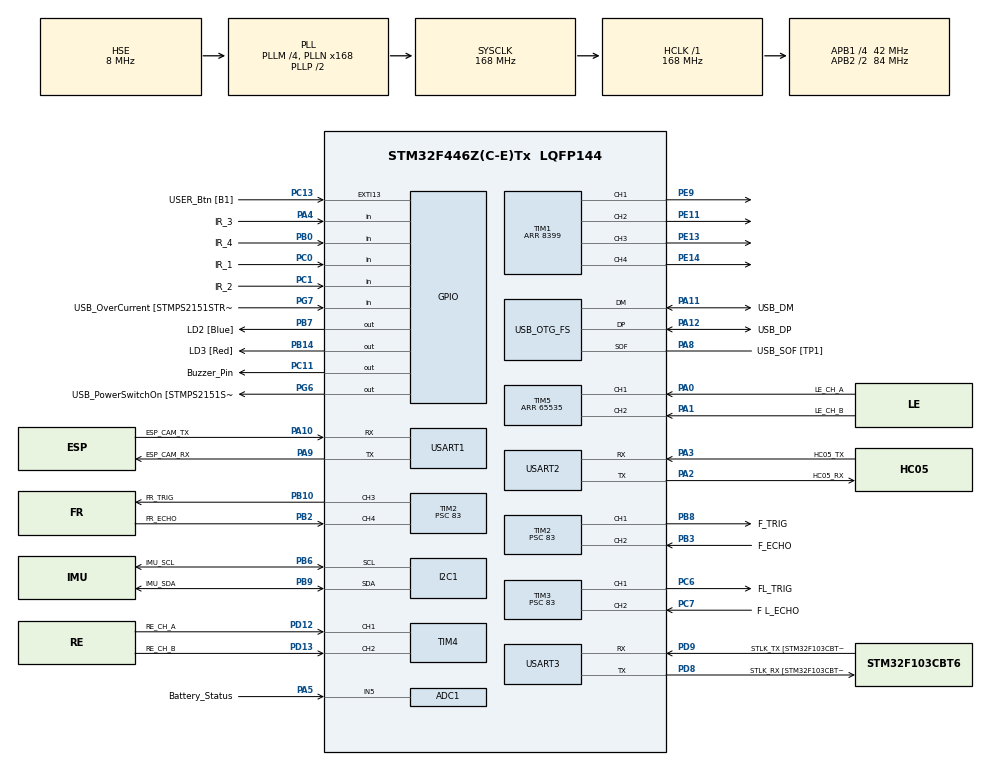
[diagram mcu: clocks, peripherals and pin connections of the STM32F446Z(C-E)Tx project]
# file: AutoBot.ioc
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ADC1.Channel-0\#ChannelRegularConversion=ADC_CHANNEL_5
ADC1.NbrOfConversionFlag=1
ADC1.Rank-0\#ChannelRegularConversion=1
ADC1.SamplingTime-0\#ChannelRegularConversion=ADC_SAMPLETIME_3CYCLES
ADC1.master=1
Dma.I2C1_RX.2.Direction=DMA_PERIPH_TO_MEMORY
Dma.I2C1_RX.2.FIFOMode=DMA_FIFOMODE_DISABLE
Dma.I2C1_RX.2.Instance=DMA1_Stream0
Dma.I2C1_RX.2.MemDataAlignment=DMA_MDATAALIGN_BYTE
Dma.I2C1_RX.2.MemInc=DMA_MINC_ENABLE
Dma.I2C1_RX.2.Mode=DMA_CIRCULAR
Dma.I2C1_RX.2.PeriphDataAlignment=DMA_PDATAALIGN_BYTE
Dma.I2C1_RX.2.PeriphInc=DMA_PINC_DISABLE
Dma.I2C1_RX.2.Priority=DMA_PRIORITY_HIGH
Dma.Request0=TIM2_CH2/CH4
Dma.Request1=TIM3_CH2
Dma.Request2=I2C1_RX
Dma.Request3=USART1_RX
Dma.TIM2_CH2/CH4.0.Direction=DMA_PERIPH_TO_MEMORY
Dma.TIM2_CH2/CH4.0.FIFOMode=DMA_FIFOMODE_DISABLE
Dma.TIM2_CH2/CH4.0.Instance=DMA1_Stream6
Dma.TIM2_CH2/CH4.0.MemDataAlignment=DMA_MDATAALIGN_HALFWORD
Dma.TIM2_CH2/CH4.0.MemInc=DMA_MINC_ENABLE
Dma.TIM2_CH2/CH4.0.Mode=DMA_CIRCULAR
Dma.TIM2_CH2/CH4.0.PeriphDataAlignment=DMA_PDATAALIGN_HALFWORD
Dma.TIM2_CH2/CH4.0.PeriphInc=DMA_PINC_DISABLE
Dma.TIM2_CH2/CH4.0.Priority=DMA_PRIORITY_HIGH
Dma.TIM3_CH2.1.Direction=DMA_PERIPH_TO_MEMORY
Dma.TIM3_CH2.1.FIFOMode=DMA_FIFOMODE_DISABLE
Dma.TIM3_CH2.1.Instance=DMA1_Stream5
Dma.TIM3_CH2.1.MemDataAlignment=DMA_MDATAALIGN_HALFWORD
Dma.TIM3_CH2.1.MemInc=DMA_MINC_ENABLE
Dma.TIM3_CH2.1.Mode=DMA_CIRCULAR
Dma.TIM3_CH2.1.PeriphDataAlignment=DMA_PDATAALIGN_HALFWORD
Dma.TIM3_CH2.1.PeriphInc=DMA_PINC_DISABLE
Dma.TIM3_CH2.1.Priority=DMA_PRIORITY_HIGH
Dma.USART1_RX.3.Direction=DMA_PERIPH_TO_MEMORY
Dma.USART1_RX.3.FIFOMode=DMA_FIFOMODE_DISABLE
Dma.USART1_RX.3.Instance=DMA2_Stream2
Dma.USART1_RX.3.MemDataAlignment=DMA_MDATAALIGN_BYTE
Dma.USART1_RX.3.MemInc=DMA_MINC_ENABLE
Dma.USART1_RX.3.Mode=DMA_CIRCULAR
Dma.USART1_RX.3.PeriphDataAlignment=DMA_PDATAALIGN_BYTE
Dma.USART1_RX.3.PeriphInc=DMA_PINC_DISABLE
Dma.USART1_RX.3.Priority=DMA_PRIORITY_MEDIUM
Mcu.Family=STM32F4
Mcu.Name=STM32F446Z(C-E)Tx
Mcu.Package=LQFP144
NVIC.ADC_IRQn=true\:0\:0\:false\:false\:true\:true\:true\:true
NVIC.DMA1_Stream0_IRQn=true\:0\:0\:false\:false\:true\:false\:true\:true
NVIC.DMA1_Stream5_IRQn=true\:0\:0\:false\:false\:true\:false\:true\:true
NVIC.DMA1_Stream6_IRQn=true\:0\:0\:false\:false\:true\:false\:true\:true
NVIC.DMA2_Stream2_IRQn=true\:0\:0\:false\:false\:true\:false\:true\:true
NVIC.I2C1_ER_IRQn=true\:0\:0\:false\:false\:true\:true\:true\:true
NVIC.I2C1_EV_IRQn=true\:0\:0\:false\:false\:true\:true\:true\:true
NVIC.PriorityGroup=NVIC_PRIORITYGROUP_4
NVIC.TIM1_UP_TIM10_IRQn=true\:0\:0\:false\:false\:true\:true\:true\:true
NVIC.TIM2_IRQn=true\:0\:0\:true\:false\:true\:true\:true\:true
NVIC.TIM3_IRQn=true\:0\:0\:false\:false\:true\:true\:true\:true
NVIC.TIM4_IRQn=true\:0\:0\:false\:false\:true\:true\:true\:true
NVIC.TIM5_IRQn=true\:0\:0\:false\:false\:true\:true\:true\:true
NVIC.TIM6_DAC_IRQn=true\:0\:0\:false\:false\:true\:true\:true\:true
NVIC.TIM7_IRQn=true\:0\:0\:false\:false\:true\:true\:true\:true
NVIC.USART1_IRQn=true\:0\:0\:false\:false\:true\:true\:true\:true
NVIC.USART2_IRQn=true\:0\:0\:false\:false\:true\:true\:true\:true
PA0-WKUP.GPIO_Label=LE_CH_A
PA0-WKUP.Signal=S_TIM5_CH1
PA1.GPIO_Label=LE_CH_B
PA1.Signal=S_TIM5_CH2
PA10.GPIO_Label=ESP_CAM_TX
PA10.Mode=Asynchronous
PA10.Signal=USART1_RX
PA11.GPIO_Label=USB_DM
PA11.Mode=Device_Only
PA11.Signal=USB_OTG_FS_DM
PA12.GPIO_Label=USB_DP
PA12.Mode=Device_Only
PA12.Signal=USB_OTG_FS_DP
PA13.GPIO_Label=TMS
PA13.Mode=Serial_Wire
PA13.Signal=SYS_JTMS-SWDIO
PA14.GPIO_Label=TCK
PA14.Mode=Serial_Wire
PA14.Signal=SYS_JTCK-SWCLK
PA2.GPIO_Label=HC05_RX
PA2.Mode=Asynchronous
PA2.Signal=USART2_TX
PA3.GPIO_Label=HC05_TX
PA3.Mode=Asynchronous
PA3.Signal=USART2_RX
PA4.GPIO_Label=IR_3
PA4.Signal=GPIO_Input
PA5.GPIO_Label=Battery_Status
PA5.Signal=ADCx_IN5
PA8.GPIO_Label=USB_SOF [TP1]
PA8.Mode=Activate_SOF_FS
PA8.Signal=USB_OTG_FS_SOF
PA9.GPIO_Label=ESP_CAM_RX
PA9.Mode=Asynchronous
PA9.Signal=USART1_TX
PB0.GPIO_Label=IR_4
PB0.Signal=GPIO_Input
PB10.GPIO_Label=FR_TRIG
PB10.Signal=S_TIM2_CH3
PB14.GPIO_Label=LD3 [Red]
PB14.Signal=GPIO_Output
PB2.GPIO_Label=FR_ECHO
PB2.Signal=S_TIM2_CH4
PB3.GPIO_Label=F_ECHO
PB3.Signal=S_TIM2_CH2
PB6.GPIO_Label=IMU_SCL
PB6.Mode=I2C
PB6.Signal=I2C1_SCL
PB7.GPIO_Label=LD2 [Blue]
PB7.Signal=GPIO_Output
PB8.GPIO_Label=F_TRIG
PB8.Signal=S_TIM2_CH1_ETR
PB9.GPIO_Label=IMU_SDA
PB9.Mode=I2C
PB9.Signal=I2C1_SDA
PC0.GPIO_Label=IR_1
PC0.Signal=GPIO_Input
PC1.GPIO_Label=IR_2
PC1.Signal=GPIO_Input
PC11.GPIO_Label=Buzzer_Pin
PC11.Signal=GPIO_Output
PC13.GPIO_Label=USER_Btn [B1]
PC13.Signal=GPXTI13
PC14-OSC32_IN.Mode=LSE-External-Oscillator
PC14-OSC32_IN.Signal=RCC_OSC32_IN
PC15-OSC32_OUT.Mode=LSE-External-Oscillator
PC15-OSC32_OUT.Signal=RCC_OSC32_OUT
PC6.GPIO_Label=FL_TRIG
PC6.Signal=S_TIM3_CH1
PC7.GPIO_Label=F L_ECHO
PC7.Signal=S_TIM3_CH2
PD12.GPIO_Label=RE_CH_A
PD12.Signal=S_TIM4_CH1
PD13.GPIO_Label=RE_CH_B
PD13.Signal=S_TIM4_CH2
PD8.GPIO_Label=STLK_RX [STM32F103CBT6_PA3]
PD8.Mode=Asynchronous
PD8.Signal=USART3_TX
PD9.GPIO_Label=STLK_TX [STM32F103CBT6_PA2]
PD9.Mode=Asynchronous
PD9.Signal=USART3_RX
PE11.Signal=S_TIM1_CH2
PE13.Signal=S_TIM1_CH3
PE14.Signal=S_TIM1_CH4
PE9.Signal=S_TIM1_CH1
PG6.GPIO_Label=USB_PowerSwitchOn [STMPS2151STR_EN]
PG6.Signal=GPIO_Output
PG7.GPIO_Label=USB_OverCurrent [STMPS2151STR_FAULT]
PG7.Signal=GPIO_Input
PH0-OSC_IN.GPIO_Label=MCO [STM32F103CBT6_PA8]
PH0-OSC_IN.Mode=HSE-External-Clock-Source
PH0-OSC_IN.Signal=RCC_OSC_IN
PH1-OSC_OUT.Mode=HSE-External-Clock-Source
PH1-OSC_OUT.Signal=RCC_OSC_OUT
ProjectManager.HeapSize=0x200
ProjectManager.StackSize=0x400
ProjectManager.TargetToolchain=STM32CubeIDE
RCC.48MHZClocksFreq_Value=24000000
RCC.AHBFreq_Value=168000000
RCC.APB1CLKDivider=RCC_HCLK_DIV4
RCC.APB1Freq_Value=42000000
RCC.APB1TimFreq_Value=84000000
RCC.APB2CLKDivider=RCC_HCLK_DIV2
RCC.APB2Freq_Value=84000000
RCC.APB2TimFreq_Value=168000000
RCC.CortexFreq_Value=168000000
RCC.HCLKFreq_Value=168000000
RCC.HSE_VALUE=8000000
RCC.HSI_VALUE=16000000
RCC.PLLM=4
RCC.PLLMUL=RCC_PLL_MUL9
RCC.PLLN=168
RCC.PLLQ=7
RCC.PRESCALERUSB=RCC_USBCLKSOURCE_PLL_DIV1_5
RCC.SYSCLKFreq_VALUE=168000000
RCC.SYSCLKSource=RCC_SYSCLKSOURCE_PLLCLK
RCC.SYSCLKSourceVirtual=RCC_SYSCLKSOURCE_PLLCLK
RCC.USBFreq_Value=48000000
RCC.VCOOutputFreq_Value=336000000
SH.ADCx_IN5.0=ADC1_IN5,IN5
SH.S_TIM1_CH1.0=TIM1_CH1,PWM Generation1 CH1
SH.S_TIM1_CH2.0=TIM1_CH2,PWM Generation2 CH2
SH.S_TIM1_CH3.0=TIM1_CH3,PWM Generation3 CH3
SH.S_TIM1_CH4.0=TIM1_CH4,PWM Generation4 CH4
SH.S_TIM2_CH1_ETR.0=TIM2_CH1,PWM Generation1 CH1
SH.S_TIM2_CH2.0=TIM2_CH2,Input_Capture2_from_TI2
SH.S_TIM2_CH3.0=TIM2_CH3,PWM Generation3 CH3
SH.S_TIM2_CH4.0=TIM2_CH4,Input_Capture4_from_TI4
SH.S_TIM3_CH1.0=TIM3_CH1,PWM Generation1 CH1
SH.S_TIM3_CH2.0=TIM3_CH2,Input_Capture2_from_TI2
SH.S_TIM4_CH1.0=TIM4_CH1,Encoder_Interface
SH.S_TIM4_CH2.0=TIM4_CH2,Encoder_Interface
SH.S_TIM5_CH1.0=TIM5_CH1,Encoder_Interface
SH.S_TIM5_CH2.0=TIM5_CH2,Encoder_Interface
TIM1.Channel-PWM\ Generation1\ CH1=TIM_CHANNEL_1
TIM1.Channel-PWM\ Generation2\ CH2=TIM_CHANNEL_2
TIM1.Channel-PWM\ Generation3\ CH3=TIM_CHANNEL_3
TIM1.Channel-PWM\ Generation4\ CH4=TIM_CHANNEL_4
TIM1.Period=8399
TIM10.AutoReloadPreload=TIM_AUTORELOAD_PRELOAD_ENABLE
TIM10.Period=499
TIM10.Prescaler=16799
TIM2.AutoReloadPreload=TIM_AUTORELOAD_PRELOAD_ENABLE
TIM2.Channel-Input_Capture2_from_TI2=TIM_CHANNEL_2
TIM2.Channel-Input_Capture4_from_TI4=TIM_CHANNEL_4
TIM2.Channel-PWM\ Generation1\ CH1=TIM_CHANNEL_1
TIM2.Channel-PWM\ Generation3\ CH3=TIM_CHANNEL_3
TIM2.Period=59999
TIM2.Prescaler=83
TIM2.Pulse-PWM\ Generation1\ CH1=10
TIM2.Pulse-PWM\ Generation3\ CH3=10
TIM3.AutoReloadPreload=TIM_AUTORELOAD_PRELOAD_ENABLE
TIM3.Channel-Input_Capture2_from_TI2=TIM_CHANNEL_2
TIM3.Channel-PWM\ Generation1\ CH1=TIM_CHANNEL_1
TIM3.Period=59999
TIM3.Prescaler=83
TIM3.Pulse-PWM\ Generation1\ CH1=10
TIM5.Period=65535
TIM6.AutoReloadPreload=TIM_AUTORELOAD_PRELOAD_ENABLE
TIM6.Period=99
TIM6.Prescaler=8399
TIM7.Period=9999
TIM7.Prescaler=8999
USART1.VirtualMode=VM_ASYNC
USART2.VirtualMode=VM_ASYNC
USART3.VirtualMode=VM_ASYNC
USB_OTG_FS.VirtualMode=Device_Only
VP_TIM10_VS_ClockSourceINT.Mode=Enable_Timer
VP_TIM1_VS_ClockSourceINT.Mode=Internal
VP_TIM2_VS_ClockSourceINT.Mode=Internal
VP_TIM3_VS_ClockSourceINT.Mode=Internal
VP_TIM6_VS_ClockSourceINT.Mode=Enable_Timer
VP_TIM7_VS_ClockSourceINT.Mode=Enable_Timer
board=NUCLEO-F446ZE

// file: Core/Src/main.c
/* USER CODE BEGIN Header */
/**
  ******************************************************************************
  * @file           : main.c
  * @brief          : Main program body
  ******************************************************************************
  * @attention
  *
  * Copyright (c) 2025 STMicroelectronics.
  * All rights reserved.
  *
  * This software is licensed under terms that can be found in the LICENSE file
  * in the root directory of this software component.
  * If no LICENSE file comes with this software, it is provided AS-IS.
  *
  ******************************************************************************
  */
/* USER CODE END Header */
#include "main.h"

/* USER CODE BEGIN Includes */
#include<stdio.h>
#include<string.h>
#include "ir_array.h"
#include "motor_control.h"
#include "ultrasonic.h"
#include "imu.h"
#include "encoder.h"
#include "battery_status.h"
#include "uart.h"

/* USER CODE END Includes */

/* USER CODE BEGIN PD */
#define Buzzer_Port	GPIOC
#define BUZZER_PIN	GPIO_PIN_11
/* USER CODE END PD */

ADC_HandleTypeDef hadc1;

I2C_HandleTypeDef hi2c1;
DMA_HandleTypeDef hdma_i2c1_rx;

TIM_HandleTypeDef htim1;
TIM_HandleTypeDef htim2;
TIM_HandleTypeDef htim3;
TIM_HandleTypeDef htim4;
TIM_HandleTypeDef htim5;
TIM_HandleTypeDef htim6;
TIM_HandleTypeDef htim7;
TIM_HandleTypeDef htim10;
DMA_HandleTypeDef hdma_tim2_ch2_ch4;
DMA_HandleTypeDef hdma_tim3_ch2;

UART_HandleTypeDef huart1;
UART_HandleTypeDef huart2;
UART_HandleTypeDef huart3;
DMA_HandleTypeDef hdma_usart1_rx;

PCD_HandleTypeDef hpcd_USB_OTG_FS;

/* USER CODE BEGIN PV */
char tx_buffer[512];
volatile uint8_t send_flag=0;
/* USER CODE END PV */

void SystemClock_Config(void);
static void MX_GPIO_Init(void);
static void MX_DMA_Init(void);
static void MX_USART3_UART_Init(void);
static void MX_USB_OTG_FS_PCD_Init(void);
static void MX_TIM1_Init(void);
static void MX_TIM2_Init(void);
static void MX_TIM3_Init(void);
static void MX_I2C1_Init(void);
static void MX_TIM6_Init(void);
static void MX_TIM4_Init(void);
static void MX_TIM5_Init(void);
static void MX_ADC1_Init(void);
static void MX_TIM7_Init(void);
static void MX_TIM10_Init(void);
static void MX_USART2_UART_Init(void);
static void MX_USART1_UART_Init(void);

int main(void)
{

  /* MCU Configuration--------------------------------------------------------*/

  /* Reset of all peripherals, Initializes the Flash interface and the Systick. */
  HAL_Init();

  /* Configure the system clock */
  SystemClock_Config();

  /* Initialize all configured peripherals */
  MX_GPIO_Init();
  MX_DMA_Init();
  MX_USART3_UART_Init();
  MX_USB_OTG_FS_PCD_Init();
  MX_TIM1_Init();
  MX_TIM2_Init();
  MX_TIM3_Init();
  MX_I2C1_Init();
  MX_TIM6_Init();
  MX_TIM4_Init();
  MX_TIM5_Init();
  MX_ADC1_Init();
  MX_TIM7_Init();
  MX_TIM10_Init();
  MX_USART2_UART_Init();
  MX_USART1_UART_Init();
  /* USER CODE BEGIN 2 */
  mpu9250_init();
  HAL_TIM_Base_Start_IT(&htim6);
  Motor_Init();
  Ultrasonic_Init();
  encoder_init();
  BatteryMonitor_Init();
  HAL_TIM_Base_Start_IT(&htim10);
  UART1_Init();  // start UART1 DMA reception
  HAL_Delay(500);
  IR_Array_T irdata;

  /* USER CODE END 2 */

  /* Infinite loop */
  /* USER CODE BEGIN WHILE */
  while (1)
  {
	 Ultrasonic_Process();
	  if(!object1_near_flag && !object2_near_flag && !object3_near_flag)
	  {
	      // normal IR-based line following
		  HAL_GPIO_WritePin(Buzzer_Port, BUZZER_PIN, RESET);
		  IR_Array_Read(&irdata);
		  IR_Decision(&irdata);

	      read_load_encoder();`

	  /*
	   * printf("\nLeft: %ld Right: %ld | %.2f° %.2f°\r\n", (long)left_count, (long)right_count, left_deg, right_deg);
		  printf("\nAccel -> X: %.2f g,Y: %.2f g,Z: %.2f g\r\n", imu.ax, imu.ay, imu.az);
		  printf("Gyro -> X: %.2f °/s,Y: %.2f °/s,Z: %.2f °/s\r\n", imu.gx, imu.gy, imu.gz);
		  printf("Orientation->Pitch: %.2f°,Roll: %.2f°,Yaw: %.2f°\r\n", imu.pitch, imu.roll, imu.yaw);
		  printf("\nBattery = %.2fV\r\n", battery_voltage);
		  printf("Battery_Percentage = %d\r\n", battery_percentage);
		  HAL_Delay(500);
	  */
	  }
	  else
	  {
		  Motor_Stop();
	      read_load_encoder();

		  HAL_GPIO_WritePin(Buzzer_Port, BUZZER_PIN,SET);
		  printf("Obstacle!!\n\r");
	  }
	  UART1_ProcessReceivedData();
	  if (new_esp32_data_flag)
	  {
	      new_esp32_data_flag = 0; // reset flag
	      /*
	       * printf("\r\nTag: %d | Yaw: %.2f | Pitch: %.2f | Roll: %.2f | X: %.2f | Y: %.2f | Z: %.2f\r\n",
	             esp32_tag_id, esp32_yaw, esp32_pitch, esp32_roll,
             	 esp32_x, esp32_y, esp32_z);
		  */
	  }
	  if (send_flag && huart2.gState == HAL_UART_STATE_READY)
	  {
	      send_flag = 0;
//	      	    int len = snprintf(tx_buffer, sizeof(tx_buffer),
//	      	        "L:%ld R:%ld | %.2f %.2f | "
//	      	        "Acc: %.2f %.2f %.2f | Gyro: %.2f %.2f %.2f | "
//	      	        "Pitch: %.2f Roll: %.2f Yaw: %.2f | "
//	      	        "Batt: %.2fV %d%% | "
//	      	        "ESP: Tag:%d | Yaw:%.2f Pitch:%.2f Roll:%.2f | X:%.2f Y:%.2f Z:%.2f\r\n",
//	      	        (long)left_count, (long)right_count, left_deg, right_deg,
//	      	        imu.ax, imu.ay, imu.az,
//	      	        imu.gx, imu.gy, imu.gz,
//	      	        imu.pitch, imu.roll, imu.yaw,
//	      	        battery_voltage, battery_percentage,
//	      	        esp32_tag_id, esp32_yaw, esp32_pitch, esp32_roll,
//	      	        esp32_x, esp32_y, esp32_z);

	      int len = snprintf(tx_buffer, sizeof(tx_buffer),
	          "{"
	              "\"enc\":{"
	                  "\"L\":%ld,"
	                  "\"R\":%ld,"
	                  "\"left_deg\":%.2f,"
	                  "\"right_deg\":%.2f"
	              "},"
	              "\"imu\":{"
	                  "\"acc\":[%.2f,%.2f,%.2f],"
	                  "\"gyro\":[%.2f,%.2f,%.2f],"
	                  "\"euler\":[%.2f,%.2f,%.2f]"
	              "},"
	              "\"battery\":{"
	                  "\"voltage\":%.2f,"
	                  "\"percent\":%d"
	              "},"
	              "\"esp\":{"
	                  "\"tag\":%d,"
	                  "\"yaw\":%.2f,"
	                  "\"pitch\":%.2f,"
	                  "\"roll\":%.2f,"
	                  "\"pos\":[%.2f,%.2f,%.2f]"
	              "}"
	          "}\n",
	          (long)left_count,
	          (long)right_count,
	          left_deg,
	          right_deg,
	          imu.ax, imu.ay, imu.az,
	          imu.gx, imu.gy, imu.gz,
	          imu.pitch, imu.roll, imu.yaw,
	          battery_voltage,
	          battery_percentage,
	          esp32_tag_id,
	          esp32_yaw, esp32_pitch, esp32_roll,
	          esp32_x, esp32_y, esp32_z
	      );
	      HAL_UART_Transmit_IT(&huart2, (uint8_t *)tx_buffer, len);
	  }
	/*
	 * uint8_t pattern = IR_Array_GetPattern(&irdata);
	    for (int i = 3; i >= 0; i--)  // for 8-bit number
	    {
	        putchar((pattern & (1 << i)) ? '1' : '0');
	    }
	    printf("\r\n");
	*/
    /* USER CODE END WHILE */

  }
}

void SystemClock_Config(void)
{
  RCC_OscInitTypeDef RCC_OscInitStruct = {0};
  RCC_ClkInitTypeDef RCC_ClkInitStruct = {0};

  /** Configure the main internal regulator output voltage
  */
  __HAL_RCC_PWR_CLK_ENABLE();
  __HAL_PWR_VOLTAGESCALING_CONFIG(PWR_REGULATOR_VOLTAGE_SCALE1);

  /** Initializes the RCC Oscillators according to the specified parameters
  * in the RCC_OscInitTypeDef structure.
  */
  RCC_OscInitStruct.OscillatorType = RCC_OSCILLATORTYPE_HSE;
  RCC_OscInitStruct.HSEState = RCC_HSE_BYPASS;
  RCC_OscInitStruct.PLL.PLLState = RCC_PLL_ON;
  RCC_OscInitStruct.PLL.PLLSource = RCC_PLLSOURCE_HSE;
  RCC_OscInitStruct.PLL.PLLM = 4;
  RCC_OscInitStruct.PLL.PLLN = 168;
  RCC_OscInitStruct.PLL.PLLP = RCC_PLLP_DIV2;
  RCC_OscInitStruct.PLL.PLLQ = 7;
  RCC_OscInitStruct.PLL.PLLR = 2;
  if (HAL_RCC_OscConfig(&RCC_OscInitStruct) != HAL_OK)
  {
    Error_Handler();
  }

  /** Initializes the CPU, AHB and APB buses clocks
  */
  RCC_ClkInitStruct.ClockType = RCC_CLOCKTYPE_HCLK|RCC_CLOCKTYPE_SYSCLK
                              |RCC_CLOCKTYPE_PCLK1|RCC_CLOCKTYPE_PCLK2;
  RCC_ClkInitStruct.SYSCLKSource = RCC_SYSCLKSOURCE_PLLCLK;
  RCC_ClkInitStruct.AHBCLKDivider = RCC_SYSCLK_DIV1;
  RCC_ClkInitStruct.APB1CLKDivider = RCC_HCLK_DIV4;
  RCC_ClkInitStruct.APB2CLKDivider = RCC_HCLK_DIV2;

  if (HAL_RCC_ClockConfig(&RCC_ClkInitStruct, FLASH_LATENCY_5) != HAL_OK)
  {
    Error_Handler();
  }
}

static void MX_ADC1_Init(void)
{

  ADC_ChannelConfTypeDef sConfig = {0};

  /** Configure the global features of the ADC (Clock, Resolution, Data Alignment and number of conversion)
  */
  hadc1.Instance = ADC1;
  hadc1.Init.ClockPrescaler = ADC_CLOCK_SYNC_PCLK_DIV4;
  hadc1.Init.Resolution = ADC_RESOLUTION_12B;
  hadc1.Init.ScanConvMode = DISABLE;
  hadc1.Init.ContinuousConvMode = DISABLE;
  hadc1.Init.DiscontinuousConvMode = DISABLE;
  hadc1.Init.ExternalTrigConvEdge = ADC_EXTERNALTRIGCONVEDGE_NONE;
  hadc1.Init.ExternalTrigConv = ADC_SOFTWARE_START;
  hadc1.Init.DataAlign = ADC_DATAALIGN_RIGHT;
  hadc1.Init.NbrOfConversion = 1;
  hadc1.Init.DMAContinuousRequests = DISABLE;
  hadc1.Init.EOCSelection = ADC_EOC_SINGLE_CONV;
  if (HAL_ADC_Init(&hadc1) != HAL_OK)
  {
    Error_Handler();
  }

  /** Configure for the selected ADC regular channel its corresponding rank in the sequencer and its sample time.
  */
  sConfig.Channel = ADC_CHANNEL_5;
  sConfig.Rank = 1;
  sConfig.SamplingTime = ADC_SAMPLETIME_3CYCLES;
  if (HAL_ADC_ConfigChannel(&hadc1, &sConfig) != HAL_OK)
  {
    Error_Handler();
  }

}

static void MX_I2C1_Init(void)
{

  hi2c1.Instance = I2C1;
  hi2c1.Init.ClockSpeed = 100000;
  hi2c1.Init.DutyCycle = I2C_DUTYCYCLE_2;
  hi2c1.Init.OwnAddress1 = 0;
  hi2c1.Init.AddressingMode = I2C_ADDRESSINGMODE_7BIT;
  hi2c1.Init.DualAddressMode = I2C_DUALADDRESS_DISABLE;
  hi2c1.Init.OwnAddress2 = 0;
  hi2c1.Init.GeneralCallMode = I2C_GENERALCALL_DISABLE;
  hi2c1.Init.NoStretchMode = I2C_NOSTRETCH_DISABLE;
  if (HAL_I2C_Init(&hi2c1) != HAL_OK)
  {
    Error_Handler();
  }

}

static void MX_TIM1_Init(void)
{

  TIM_ClockConfigTypeDef sClockSourceConfig = {0};
  TIM_MasterConfigTypeDef sMasterConfig = {0};
  TIM_OC_InitTypeDef sConfigOC = {0};
  TIM_BreakDeadTimeConfigTypeDef sBreakDeadTimeConfig = {0};

  htim1.Instance = TIM1;
  htim1.Init.Prescaler = 0;
  htim1.Init.CounterMode = TIM_COUNTERMODE_UP;
  htim1.Init.Period = 8399;
  htim1.Init.ClockDivision = TIM_CLOCKDIVISION_DIV1;
  htim1.Init.RepetitionCounter = 0;
  htim1.Init.AutoReloadPreload = TIM_AUTORELOAD_PRELOAD_DISABLE;
  if (HAL_TIM_Base_Init(&htim1) != HAL_OK)
  {
    Error_Handler();
  }
  sClockSourceConfig.ClockSource = TIM_CLOCKSOURCE_INTERNAL;
  if (HAL_TIM_ConfigClockSource(&htim1, &sClockSourceConfig) != HAL_OK)
  {
    Error_Handler();
  }
  if (HAL_TIM_PWM_Init(&htim1) != HAL_OK)
  {
    Error_Handler();
  }
  sMasterConfig.MasterOutputTrigger = TIM_TRGO_RESET;
  sMasterConfig.MasterSlaveMode = TIM_MASTERSLAVEMODE_DISABLE;
  if (HAL_TIMEx_MasterConfigSynchronization(&htim1, &sMasterConfig) != HAL_OK)
  {
    Error_Handler();
  }
  sConfigOC.OCMode = TIM_OCMODE_PWM1;
  sConfigOC.Pulse = 0;
  sConfigOC.OCPolarity = TIM_OCPOLARITY_HIGH;
  sConfigOC.OCNPolarity = TIM_OCNPOLARITY_HIGH;
  sConfigOC.OCFastMode = TIM_OCFAST_DISABLE;
  sConfigOC.OCIdleState = TIM_OCIDLESTATE_RESET;
  sConfigOC.OCNIdleState = TIM_OCNIDLESTATE_RESET;
  if (HAL_TIM_PWM_ConfigChannel(&htim1, &sConfigOC, TIM_CHANNEL_1) != HAL_OK)
  {
    Error_Handler();
  }
  if (HAL_TIM_PWM_ConfigChannel(&htim1, &sConfigOC, TIM_CHANNEL_2) != HAL_OK)
  {
    Error_Handler();
  }
  if (HAL_TIM_PWM_ConfigChannel(&htim1, &sConfigOC, TIM_CHANNEL_3) != HAL_OK)
  {
    Error_Handler();
  }
  if (HAL_TIM_PWM_ConfigChannel(&htim1, &sConfigOC, TIM_CHANNEL_4) != HAL_OK)
  {
    Error_Handler();
  }
  sBreakDeadTimeConfig.OffStateRunMode = TIM_OSSR_DISABLE;
  sBreakDeadTimeConfig.OffStateIDLEMode = TIM_OSSI_DISABLE;
  sBreakDeadTimeConfig.LockLevel = TIM_LOCKLEVEL_OFF;
  sBreakDeadTimeConfig.DeadTime = 0;
  sBreakDeadTimeConfig.BreakState = TIM_BREAK_DISABLE;
  sBreakDeadTimeConfig.BreakPolarity = TIM_BREAKPOLARITY_HIGH;
  sBreakDeadTimeConfig.AutomaticOutput = TIM_AUTOMATICOUTPUT_DISABLE;
  if (HAL_TIMEx_ConfigBreakDeadTime(&htim1, &sBreakDeadTimeConfig) != HAL_OK)
  {
    Error_Handler();
  }
  HAL_TIM_MspPostInit(&htim1);

}

static void MX_TIM2_Init(void)
{

  TIM_ClockConfigTypeDef sClockSourceConfig = {0};
  TIM_MasterConfigTypeDef sMasterConfig = {0};
  TIM_OC_InitTypeDef sConfigOC = {0};
  TIM_IC_InitTypeDef sConfigIC = {0};

  htim2.Instance = TIM2;
  htim2.Init.Prescaler = 83;
  htim2.Init.CounterMode = TIM_COUNTERMODE_UP;
  htim2.Init.Period = 59999;
  htim2.Init.ClockDivision = TIM_CLOCKDIVISION_DIV1;
  htim2.Init.AutoReloadPreload = TIM_AUTORELOAD_PRELOAD_ENABLE;
  if (HAL_TIM_Base_Init(&htim2) != HAL_OK)
  {
    Error_Handler();
  }
  sClockSourceConfig.ClockSource = TIM_CLOCKSOURCE_INTERNAL;
  if (HAL_TIM_ConfigClockSource(&htim2, &sClockSourceConfig) != HAL_OK)
  {
    Error_Handler();
  }
  if (HAL_TIM_PWM_Init(&htim2) != HAL_OK)
  {
    Error_Handler();
  }
  if (HAL_TIM_IC_Init(&htim2) != HAL_OK)
  {
    Error_Handler();
  }
  sMasterConfig.MasterOutputTrigger = TIM_TRGO_RESET;
  sMasterConfig.MasterSlaveMode = TIM_MASTERSLAVEMODE_DISABLE;
  if (HAL_TIMEx_MasterConfigSynchronization(&htim2, &sMasterConfig) != HAL_OK)
  {
    Error_Handler();
  }
  sConfigOC.OCMode = TIM_OCMODE_PWM1;
  sConfigOC.Pulse = 10;
  sConfigOC.OCPolarity = TIM_OCPOLARITY_HIGH;
  sConfigOC.OCFastMode = TIM_OCFAST_DISABLE;
  if (HAL_TIM_PWM_ConfigChannel(&htim2, &sConfigOC, TIM_CHANNEL_1) != HAL_OK)
  {
    Error_Handler();
  }
  sConfigIC.ICPolarity = TIM_INPUTCHANNELPOLARITY_RISING;
  sConfigIC.ICSelection = TIM_ICSELECTION_DIRECTTI;
  sConfigIC.ICPrescaler = TIM_ICPSC_DIV1;
  sConfigIC.ICFilter = 0;
  if (HAL_TIM_IC_ConfigChannel(&htim2, &sConfigIC, TIM_CHANNEL_2) != HAL_OK)
  {
    Error_Handler();
  }
  if (HAL_TIM_PWM_ConfigChannel(&htim2, &sConfigOC, TIM_CHANNEL_3) != HAL_OK)
  {
    Error_Handler();
  }
  if (HAL_TIM_IC_ConfigChannel(&htim2, &sConfigIC, TIM_CHANNEL_4) != HAL_OK)
  {
    Error_Handler();
  }
  HAL_TIM_MspPostInit(&htim2);

}

static void MX_TIM3_Init(void)
{

  TIM_ClockConfigTypeDef sClockSourceConfig = {0};
  TIM_MasterConfigTypeDef sMasterConfig = {0};
  TIM_OC_InitTypeDef sConfigOC = {0};
  TIM_IC_InitTypeDef sConfigIC = {0};

  htim3.Instance = TIM3;
  htim3.Init.Prescaler = 83;
  htim3.Init.CounterMode = TIM_COUNTERMODE_UP;
  htim3.Init.Period = 59999;
  htim3.Init.ClockDivision = TIM_CLOCKDIVISION_DIV1;
  htim3.Init.AutoReloadPreload = TIM_AUTORELOAD_PRELOAD_ENABLE;
  if (HAL_TIM_Base_Init(&htim3) != HAL_OK)
  {
    Error_Handler();
  }
  sClockSourceConfig.ClockSource = TIM_CLOCKSOURCE_INTERNAL;
  if (HAL_TIM_ConfigClockSource(&htim3, &sClockSourceConfig) != HAL_OK)
  {
    Error_Handler();
  }
  if (HAL_TIM_PWM_Init(&htim3) != HAL_OK)
  {
    Error_Handler();
  }
  if (HAL_TIM_IC_Init(&htim3) != HAL_OK)
  {
    Error_Handler();
  }
  sMasterConfig.MasterOutputTrigger = TIM_TRGO_RESET;
  sMasterConfig.MasterSlaveMode = TIM_MASTERSLAVEMODE_DISABLE;
  if (HAL_TIMEx_MasterConfigSynchronization(&htim3, &sMasterConfig) != HAL_OK)
  {
    Error_Handler();
  }
  sConfigOC.OCMode = TIM_OCMODE_PWM1;
  sConfigOC.Pulse = 10;
  sConfigOC.OCPolarity = TIM_OCPOLARITY_HIGH;
  sConfigOC.OCFastMode = TIM_OCFAST_DISABLE;
  if (HAL_TIM_PWM_ConfigChannel(&htim3, &sConfigOC, TIM_CHANNEL_1) != HAL_OK)
  {
    Error_Handler();
  }
  sConfigIC.ICPolarity = TIM_INPUTCHANNELPOLARITY_RISING;
  sConfigIC.ICSelection = TIM_ICSELECTION_DIRECTTI;
  sConfigIC.ICPrescaler = TIM_ICPSC_DIV1;
  sConfigIC.ICFilter = 0;
  if (HAL_TIM_IC_ConfigChannel(&htim3, &sConfigIC, TIM_CHANNEL_2) != HAL_OK)
  {
    Error_Handler();
  }
  HAL_TIM_MspPostInit(&htim3);

}

static void MX_TIM4_Init(void)
{

  TIM_Encoder_InitTypeDef sConfig = {0};
  TIM_MasterConfigTypeDef sMasterConfig = {0};

  htim4.Instance = TIM4;
  htim4.Init.Prescaler = 0;
  htim4.Init.CounterMode = TIM_COUNTERMODE_UP;
  htim4.Init.Period = 65535;
  htim4.Init.ClockDivision = TIM_CLOCKDIVISION_DIV1;
  htim4.Init.AutoReloadPreload = TIM_AUTORELOAD_PRELOAD_DISABLE;
  sConfig.EncoderMode = TIM_ENCODERMODE_TI1;
  sConfig.IC1Polarity = TIM_ICPOLARITY_RISING;
  sConfig.IC1Selection = TIM_ICSELECTION_DIRECTTI;
  sConfig.IC1Prescaler = TIM_ICPSC_DIV1;
  sConfig.IC1Filter = 0;
  sConfig.IC2Polarity = TIM_ICPOLARITY_RISING;
  sConfig.IC2Selection = TIM_ICSELECTION_DIRECTTI;
  sConfig.IC2Prescaler = TIM_ICPSC_DIV1;
  sConfig.IC2Filter = 0;
  if (HAL_TIM_Encoder_Init(&htim4, &sConfig) != HAL_OK)
  {
    Error_Handler();
  }
  sMasterConfig.MasterOutputTrigger = TIM_TRGO_RESET;
  sMasterConfig.MasterSlaveMode = TIM_MASTERSLAVEMODE_DISABLE;
  if (HAL_TIMEx_MasterConfigSynchronization(&htim4, &sMasterConfig) != HAL_OK)
  {
    Error_Handler();
  }

}

static void MX_TIM5_Init(void)
{

  TIM_Encoder_InitTypeDef sConfig = {0};
  TIM_MasterConfigTypeDef sMasterConfig = {0};

  htim5.Instance = TIM5;
  htim5.Init.Prescaler = 0;
  htim5.Init.CounterMode = TIM_COUNTERMODE_UP;
  htim5.Init.Period = 65535;
  htim5.Init.ClockDivision = TIM_CLOCKDIVISION_DIV1;
  htim5.Init.AutoReloadPreload = TIM_AUTORELOAD_PRELOAD_DISABLE;
  sConfig.EncoderMode = TIM_ENCODERMODE_TI1;
  sConfig.IC1Polarity = TIM_ICPOLARITY_RISING;
  sConfig.IC1Selection = TIM_ICSELECTION_DIRECTTI;
  sConfig.IC1Prescaler = TIM_ICPSC_DIV1;
  sConfig.IC1Filter = 0;
  sConfig.IC2Polarity = TIM_ICPOLARITY_RISING;
  sConfig.IC2Selection = TIM_ICSELECTION_DIRECTTI;
  sConfig.IC2Prescaler = TIM_ICPSC_DIV1;
  sConfig.IC2Filter = 0;
  if (HAL_TIM_Encoder_Init(&htim5, &sConfig) != HAL_OK)
  {
    Error_Handler();
  }
  sMasterConfig.MasterOutputTrigger = TIM_TRGO_RESET;
  sMasterConfig.MasterSlaveMode = TIM_MASTERSLAVEMODE_DISABLE;
  if (HAL_TIMEx_MasterConfigSynchronization(&htim5, &sMasterConfig) != HAL_OK)
  {
    Error_Handler();
  }

}

static void MX_TIM6_Init(void)
{

  TIM_MasterConfigTypeDef sMasterConfig = {0};

  htim6.Instance = TIM6;
  htim6.Init.Prescaler = 8399;
  htim6.Init.CounterMode = TIM_COUNTERMODE_UP;
  htim6.Init.Period = 99;
  htim6.Init.AutoReloadPreload = TIM_AUTORELOAD_PRELOAD_ENABLE;
  if (HAL_TIM_Base_Init(&htim6) != HAL_OK)
  {
    Error_Handler();
  }
  sMasterConfig.MasterOutputTrigger = TIM_TRGO_RESET;
  sMasterConfig.MasterSlaveMode = TIM_MASTERSLAVEMODE_DISABLE;
  if (HAL_TIMEx_MasterConfigSynchronization(&htim6, &sMasterConfig) != HAL_OK)
  {
    Error_Handler();
  }

}

static void MX_TIM7_Init(void)
{

  TIM_MasterConfigTypeDef sMasterConfig = {0};

  htim7.Instance = TIM7;
  htim7.Init.Prescaler = 8999;
  htim7.Init.CounterMode = TIM_COUNTERMODE_UP;
  htim7.Init.Period = 9999;
  htim7.Init.AutoReloadPreload = TIM_AUTORELOAD_PRELOAD_DISABLE;
  if (HAL_TIM_Base_Init(&htim7) != HAL_OK)
  {
    Error_Handler();
  }
  sMasterConfig.MasterOutputTrigger = TIM_TRGO_RESET;
  sMasterConfig.MasterSlaveMode = TIM_MASTERSLAVEMODE_DISABLE;
  if (HAL_TIMEx_MasterConfigSynchronization(&htim7, &sMasterConfig) != HAL_OK)
  {
    Error_Handler();
  }

}

static void MX_TIM10_Init(void)
{

  htim10.Instance = TIM10;
  htim10.Init.Prescaler = 16799;
  htim10.Init.CounterMode = TIM_COUNTERMODE_UP;
  htim10.Init.Period = 2999;
  htim10.Init.ClockDivision = TIM_CLOCKDIVISION_DIV1;
  htim10.Init.AutoReloadPreload = TIM_AUTORELOAD_PRELOAD_ENABLE;
  if (HAL_TIM_Base_Init(&htim10) != HAL_OK)
  {
    Error_Handler();
  }

}

static void MX_USART1_UART_Init(void)
{

  huart1.Instance = USART1;
  huart1.Init.BaudRate = 115200;
  huart1.Init.WordLength = UART_WORDLENGTH_8B;
  huart1.Init.StopBits = UART_STOPBITS_1;
  huart1.Init.Parity = UART_PARITY_NONE;
  huart1.Init.Mode = UART_MODE_TX_RX;
  huart1.Init.HwFlowCtl = UART_HWCONTROL_NONE;
  huart1.Init.OverSampling = UART_OVERSAMPLING_16;
  if (HAL_UART_Init(&huart1) != HAL_OK)
  {
    Error_Handler();
  }

}

static void MX_USART2_UART_Init(void)
{

  huart2.Instance = USART2;
  huart2.Init.BaudRate = 115200;
  huart2.Init.WordLength = UART_WORDLENGTH_8B;
  huart2.Init.StopBits = UART_STOPBITS_1;
  huart2.Init.Parity = UART_PARITY_NONE;
  huart2.Init.Mode = UART_MODE_TX_RX;
  huart2.Init.HwFlowCtl = UART_HWCONTROL_NONE;
  huart2.Init.OverSampling = UART_OVERSAMPLING_16;
  if (HAL_UART_Init(&huart2) != HAL_OK)
  {
    Error_Handler();
  }

}

static void MX_USART3_UART_Init(void)
{

  huart3.Instance = USART3;
  huart3.Init.BaudRate = 115200;
  huart3.Init.WordLength = UART_WORDLENGTH_8B;
  huart3.Init.StopBits = UART_STOPBITS_1;
  huart3.Init.Parity = UART_PARITY_NONE;
  huart3.Init.Mode = UART_MODE_TX_RX;
  huart3.Init.HwFlowCtl = UART_HWCONTROL_NONE;
  huart3.Init.OverSampling = UART_OVERSAMPLING_16;
  if (HAL_UART_Init(&huart3) != HAL_OK)
  {
    Error_Handler();
  }

}

static void MX_USB_OTG_FS_PCD_Init(void)
{

  hpcd_USB_OTG_FS.Instance = USB_OTG_FS;
  hpcd_USB_OTG_FS.Init.dev_endpoints = 6;
  hpcd_USB_OTG_FS.Init.speed = PCD_SPEED_FULL;
  hpcd_USB_OTG_FS.Init.dma_enable = DISABLE;
  hpcd_USB_OTG_FS.Init.phy_itface = PCD_PHY_EMBEDDED;
  hpcd_USB_OTG_FS.Init.Sof_enable = ENABLE;
  hpcd_USB_OTG_FS.Init.low_power_enable = DISABLE;
  hpcd_USB_OTG_FS.Init.lpm_enable = DISABLE;
  hpcd_USB_OTG_FS.Init.vbus_sensing_enable = DISABLE;
  hpcd_USB_OTG_FS.Init.use_dedicated_ep1 = DISABLE;
  if (HAL_PCD_Init(&hpcd_USB_OTG_FS) != HAL_OK)
  {
    Error_Handler();
  }

}

static void MX_DMA_Init(void)
{

  /* DMA controller clock enable */
  __HAL_RCC_DMA1_CLK_ENABLE();
  __HAL_RCC_DMA2_CLK_ENABLE();

  /* DMA interrupt init */
  /* DMA1_Stream0_IRQn interrupt configuration */
  HAL_NVIC_SetPriority(DMA1_Stream0_IRQn, 0, 0);
  HAL_NVIC_EnableIRQ(DMA1_Stream0_IRQn);
  /* DMA1_Stream5_IRQn interrupt configuration */
  HAL_NVIC_SetPriority(DMA1_Stream5_IRQn, 0, 0);
  HAL_NVIC_EnableIRQ(DMA1_Stream5_IRQn);
  /* DMA1_Stream6_IRQn interrupt configuration */
  HAL_NVIC_SetPriority(DMA1_Stream6_IRQn, 0, 0);
  HAL_NVIC_EnableIRQ(DMA1_Stream6_IRQn);
  /* DMA2_Stream2_IRQn interrupt configuration */
  HAL_NVIC_SetPriority(DMA2_Stream2_IRQn, 0, 0);
  HAL_NVIC_EnableIRQ(DMA2_Stream2_IRQn);

}

static void MX_GPIO_Init(void)
{
  GPIO_InitTypeDef GPIO_InitStruct = {0};

  /* GPIO Ports Clock Enable */
  __HAL_RCC_GPIOC_CLK_ENABLE();
  __HAL_RCC_GPIOH_CLK_ENABLE();
  __HAL_RCC_GPIOA_CLK_ENABLE();
  __HAL_RCC_GPIOB_CLK_ENABLE();
  __HAL_RCC_GPIOE_CLK_ENABLE();
  __HAL_RCC_GPIOD_CLK_ENABLE();
  __HAL_RCC_GPIOG_CLK_ENABLE();

  /*Configure GPIO pin Output Level */
  HAL_GPIO_WritePin(GPIOB, LD3_Pin|LD2_Pin, GPIO_PIN_RESET);

  /*Configure GPIO pin Output Level */
  HAL_GPIO_WritePin(USB_PowerSwitchOn_GPIO_Port, USB_PowerSwitchOn_Pin, GPIO_PIN_RESET);

  /*Configure GPIO pin Output Level */
  HAL_GPIO_WritePin(Buzzer_Pin_GPIO_Port, Buzzer_Pin_Pin, GPIO_PIN_RESET);

  /*Configure GPIO pin : USER_Btn_Pin */
  GPIO_InitStruct.Pin = USER_Btn_Pin;
  GPIO_InitStruct.Mode = GPIO_MODE_IT_RISING;
  GPIO_InitStruct.Pull = GPIO_NOPULL;
  HAL_GPIO_Init(USER_Btn_GPIO_Port, &GPIO_InitStruct);

  /*Configure GPIO pins : IR_1_Pin IR_2_Pin */
  GPIO_InitStruct.Pin = IR_1_Pin|IR_2_Pin;
  GPIO_InitStruct.Mode = GPIO_MODE_INPUT;
  GPIO_InitStruct.Pull = GPIO_NOPULL;
  HAL_GPIO_Init(GPIOC, &GPIO_InitStruct);

  /*Configure GPIO pin : IR_3_Pin */
  GPIO_InitStruct.Pin = IR_3_Pin;
  GPIO_InitStruct.Mode = GPIO_MODE_INPUT;
  GPIO_InitStruct.Pull = GPIO_NOPULL;
  HAL_GPIO_Init(IR_3_GPIO_Port, &GPIO_InitStruct);

  /*Configure GPIO pin : IR_4_Pin */
  GPIO_InitStruct.Pin = IR_4_Pin;
  GPIO_InitStruct.Mode = GPIO_MODE_INPUT;
  GPIO_InitStruct.Pull = GPIO_NOPULL;
  HAL_GPIO_Init(IR_4_GPIO_Port, &GPIO_InitStruct);

  /*Configure GPIO pins : LD3_Pin LD2_Pin */
  GPIO_InitStruct.Pin = LD3_Pin|LD2_Pin;
  GPIO_InitStruct.Mode = GPIO_MODE_OUTPUT_PP;
  GPIO_InitStruct.Pull = GPIO_NOPULL;
  GPIO_InitStruct.Speed = GPIO_SPEED_FREQ_LOW;
  HAL_GPIO_Init(GPIOB, &GPIO_InitStruct);

  /*Configure GPIO pin : USB_PowerSwitchOn_Pin */
  GPIO_InitStruct.Pin = USB_PowerSwitchOn_Pin;
  GPIO_InitStruct.Mode = GPIO_MODE_OUTPUT_PP;
  GPIO_InitStruct.Pull = GPIO_NOPULL;
  GPIO_InitStruct.Speed = GPIO_SPEED_FREQ_LOW;
  HAL_GPIO_Init(USB_PowerSwitchOn_GPIO_Port, &GPIO_InitStruct);

  /*Configure GPIO pin : USB_OverCurrent_Pin */
  GPIO_InitStruct.Pin = USB_OverCurrent_Pin;
  GPIO_InitStruct.Mode = GPIO_MODE_INPUT;
  GPIO_InitStruct.Pull = GPIO_NOPULL;
  HAL_GPIO_Init(USB_OverCurrent_GPIO_Port, &GPIO_InitStruct);

  /*Configure GPIO pin : Buzzer_Pin_Pin */
  GPIO_InitStruct.Pin = Buzzer_Pin_Pin;
  GPIO_InitStruct.Mode = GPIO_MODE_OUTPUT_PP;
  GPIO_InitStruct.Pull = GPIO_NOPULL;
  GPIO_InitStruct.Speed = GPIO_SPEED_FREQ_LOW;
  HAL_GPIO_Init(Buzzer_Pin_GPIO_Port, &GPIO_InitStruct);

}

/* USER CODE BEGIN 4 */
int __io_putchar(int ch)
{
    HAL_UART_Transmit(&huart3, (uint8_t *)&ch, 1, HAL_MAX_DELAY);
    return ch;
}

int _write(int file, char *ptr, int len)
{
    HAL_UART_Transmit(&huart3, (uint8_t *)ptr, len, HAL_MAX_DELAY);
    return len;
}

void HAL_TIM_PeriodElapsedCallback(TIM_HandleTypeDef *htim)
{
    if(htim->Instance == TIM6) {
        HAL_I2C_Mem_Read(&hi2c1, MPU9250_ADDR, ACCEL_XOUT_H_REG, I2C_MEMADD_SIZE_8BIT, mpu_raw, 14, HAL_MAX_DELAY);
        mpu9250_parse_accel_gyro(mpu_raw);
        mpu9250_read_mag();
    }
    else if(htim->Instance == TIM4 || htim->Instance == TIM5)
    {
    	 encoder_tim_update_callback(htim);
    }
    else if (htim->Instance == TIM7)
	{
		battery_tick_counter++;
		if (battery_tick_counter >= 5)  // 5 sec interval
		{
			battery_tick_counter = 0;
			Start_Battery_ADC_Read();
		}
	}
    else if (htim->Instance == TIM10)
	{

		HAL_GPIO_TogglePin(GPIOB, GPIO_PIN_14);		// Format all data into one string
	    send_flag = 1;     // only mark
//
	}
}
/* USER CODE END 4 */

void Error_Handler(void)
{
  __disable_irq();
  while (1)
  {
  }
}
